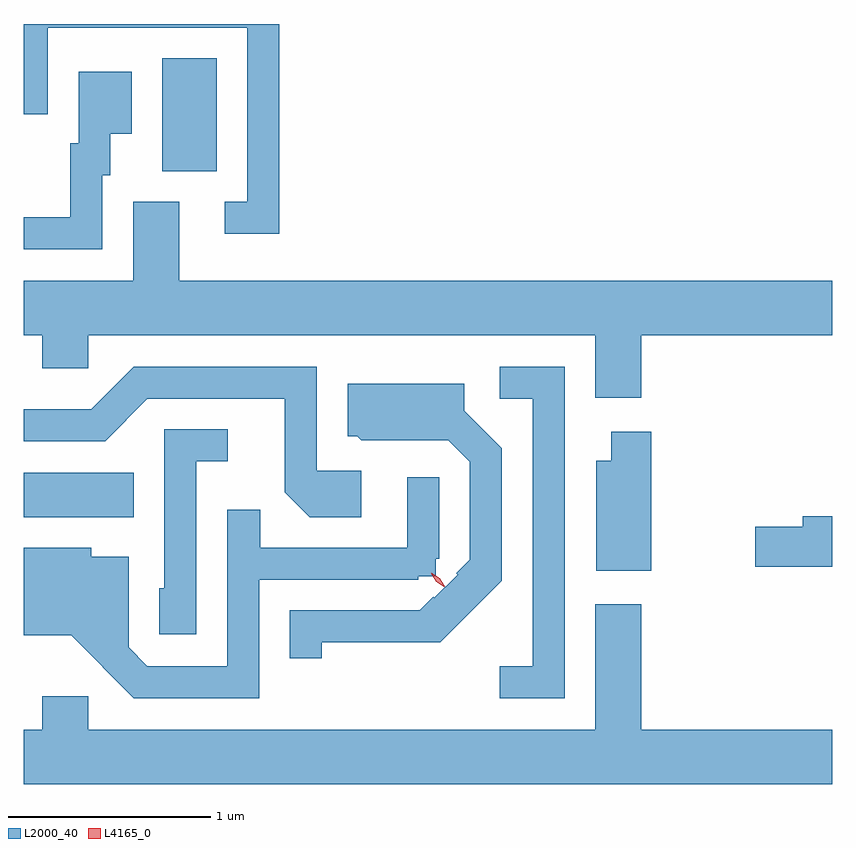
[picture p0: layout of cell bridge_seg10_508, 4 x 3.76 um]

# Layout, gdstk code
import gdstk
lib = gdstk.Library(unit=1e-6, precision=1e-09)
def R(c, l, rs):  # rectangles x0, y0, x1, y1
    for r in rs: c.add(gdstk.rectangle(r[:2], r[2:], *l))
def P(c, l, *ps):  # polygons
    for p in ps: c.add(gdstk.Polygon(p, *l))
L2000_40 = (2000, 40)
L4165_0 = (4165, 0)

bridge_seg10_508 = lib.new_cell('bridge_seg10_508')
R(bridge_seg10_508, L2000_40, [(828.809,2181.836,829.354,2182.054), (829.496,2183.546,829.764,2184.104)])
P(bridge_seg10_508, L2000_40, [(830.074,2184.274),(828.809,2184.274),(828.809,2183.828),(828.929,2183.828),(828.929,2184.256),(829.916,2184.256),(829.916,2183.394),(829.803,2183.394),(829.803,2183.236),(830.074,2183.236)],
  [(829.199,2183.526),(829.239,2183.526),(829.239,2183.731),(829.344,2183.731),(829.344,2184.039),(829.081,2184.039),(829.081,2183.684),(829.041,2183.684),(829.041,2183.319),(828.809,2183.319),(828.809,2183.161),(829.199,2183.161)],
  [(831.864,2182.736),(832.809,2182.736),(832.809,2183.004),(829.579,2183.004),(829.579,2183.394),(829.351,2183.394),(829.351,2183.004),(828.809,2183.004),(828.809,2182.736),(828.901,2182.736),(828.901,2182.571),(829.129,2182.571),(829.129,2182.736),(831.636,2182.736),(831.636,2182.426),(831.864,2182.426)],
  [(830.479,2182.064),(830.259,2182.064),(830.259,2182.579),(829.354,2182.579),(829.144,2182.369),(828.809,2182.369),(828.809,2182.211),(829.212,2182.211),(829.422,2182.421),(830.101,2182.421),(830.101,2181.959),(830.224,2181.836),(830.479,2181.836)],
  [(831.484,2182.579),(831.163,2182.579),(831.163,2182.421),(831.326,2182.421),(831.326,2181.099),(831.163,2181.099),(831.163,2180.941),(831.484,2180.941)],
  [(830.284,2181.216),(830.87,2181.216),(831.174,2181.521),(831.174,2182.177),(830.989,2182.362),(830.989,2182.494),(830.411,2182.494),(830.411,2182.236),(830.459,2182.236),(830.479,2182.216),(830.909,2182.216),(831.016,2182.109),(831.016,2181.624),(830.949,2181.557),(830.955,2181.551),(830.839,2181.436),(830.834,2181.441),(830.767,2181.374),(830.126,2181.374),(830.126,2181.138),(830.284,2181.138)],
  [(829.664,2182.111),(829.818,2182.111),(829.818,2182.269),(829.506,2182.269),(829.506,2181.484),(829.481,2181.484),(829.481,2181.256),(829.664,2181.256)],
  [(831.914,2182.259),(831.716,2182.259),(831.716,2182.114),(831.641,2182.114),(831.641,2181.571),(831.914,2181.571)],
  [(829.974,2181.526),(830.76,2181.526),(830.76,2181.543),(830.848,2181.543),(830.848,2181.63),(830.864,2181.63),(830.864,2182.033),(830.706,2182.033),(830.706,2181.684),(829.979,2181.684),(829.979,2181.873),(829.816,2181.873),(829.816,2181.099),(829.422,2181.099),(829.329,2181.192),(829.329,2181.639),(829.144,2181.639),(829.144,2181.684),(828.809,2181.684),(828.809,2181.251),(829.044,2181.251),(829.354,2180.941),(829.974,2180.941)],
  [(832.809,2181.839),(832.661,2181.839),(832.661,2181.789),(832.426,2181.789),(832.426,2181.591),(832.809,2181.591)],
  [(831.636,2181.404),(831.636,2180.784),(829.129,2180.784),(829.129,2180.949),(828.901,2180.949),(828.901,2180.784),(828.809,2180.784),(828.809,2180.516),(832.809,2180.516),(832.809,2180.784),(831.864,2180.784),(831.864,2181.404)])
P(bridge_seg10_508, L4165_0, [(830.892,2181.494),(830.852,2181.52),(830.825,2181.56),(830.825,2181.56),(830.826,2181.56),(830.866,2181.534),(830.892,2181.494),(830.892,2181.494)],
  [(830.888,2181.492),(830.85,2181.517),(830.825,2181.556),(830.825,2181.556),(830.825,2181.556),(830.864,2181.532),(830.889,2181.493),(830.889,2181.492)])

lib.write_gds('bridge_seg10_508.gds')
